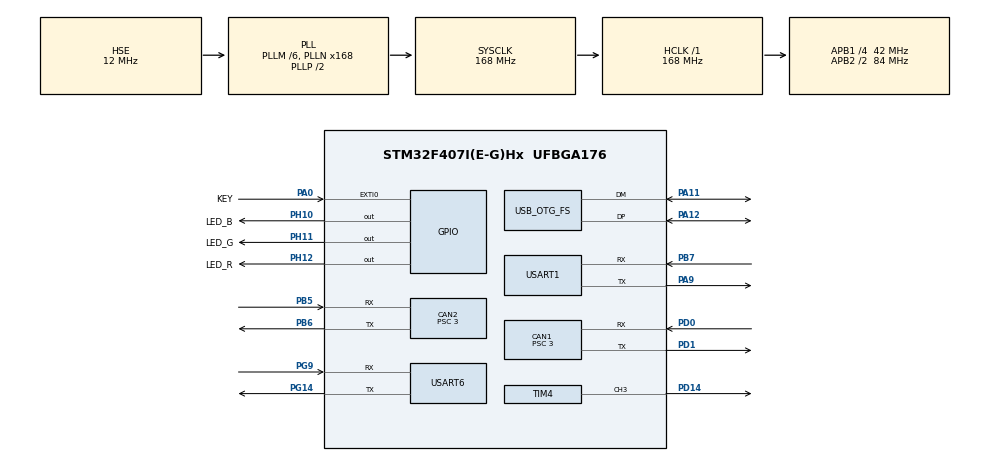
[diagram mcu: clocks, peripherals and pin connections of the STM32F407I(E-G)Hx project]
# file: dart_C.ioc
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CAN1.BS1=CAN_BS1_10TQ
CAN1.BS2=CAN_BS2_3TQ
CAN1.CalculateBaudRate=1000000
CAN1.CalculateTimeBit=1000
CAN1.CalculateTimeQuantum=71.42857142857143
CAN1.Prescaler=3
CAN2.BS1=CAN_BS1_10TQ
CAN2.BS2=CAN_BS2_3TQ
CAN2.CalculateBaudRate=1000000
CAN2.CalculateTimeBit=1000
CAN2.CalculateTimeQuantum=71.42857142857143
CAN2.Prescaler=3
FREERTOS.Tasks01=defaultTask,0,128,StartDefaultTask,Default,NULL,Dynamic,NULL,NULL;MyTask1,-2,128,MotorUpdate,As external,NULL,Dynamic,NULL,NULL;myTask2,-3,128,StartTask2,As external,NULL,Dynamic,NULL,NULL;PidTask,-3,128,StartPidTask,As external,NULL,Dynamic,NULL,NULL;CdcTask,-3,128,StartCdcTask,As external,NULL,Dynamic,NULL,NULL
Mcu.Family=STM32F4
Mcu.Name=STM32F407I(E-G)Hx
Mcu.Package=UFBGA176
NVIC.CAN1_RX0_IRQn=true\:5\:0\:false\:false\:true\:true\:true\:true\:true
NVIC.CAN1_RX1_IRQn=true\:5\:0\:false\:false\:true\:true\:true\:true\:true
NVIC.CAN2_RX0_IRQn=true\:5\:0\:false\:false\:true\:true\:true\:true\:true
NVIC.CAN2_RX1_IRQn=true\:5\:0\:false\:false\:true\:true\:true\:true\:true
NVIC.EXTI0_IRQn=true\:5\:0\:false\:false\:true\:false\:true\:true\:true
NVIC.OTG_FS_IRQn=true\:5\:0\:false\:false\:true\:true\:false\:true\:true
NVIC.PriorityGroup=NVIC_PRIORITYGROUP_4
NVIC.TIM1_UP_TIM10_IRQn=true\:0\:0\:true\:false\:true\:false\:false\:true\:true
NVIC.TIM2_IRQn=true\:5\:0\:false\:false\:true\:true\:true\:true\:true
NVIC.TimeBase=TIM1_UP_TIM10_IRQn
NVIC.TimeBaseIP=TIM1
NVIC.USART1_IRQn=true\:5\:0\:false\:false\:true\:true\:true\:true\:true
NVIC.USART6_IRQn=true\:5\:0\:false\:false\:true\:true\:true\:true\:true
PA0-WKUP.GPIO_Label=KEY
PA0-WKUP.GPIO_ModeDefaultEXTI=GPIO_MODE_IT_FALLING
PA0-WKUP.Signal=GPXTI0
PA11.Mode=Device_Only
PA11.Signal=USB_OTG_FS_DM
PA12.Mode=Device_Only
PA12.Signal=USB_OTG_FS_DP
PA13.Mode=Serial_Wire
PA13.Signal=SYS_JTMS-SWDIO
PA14.Mode=Serial_Wire
PA14.Signal=SYS_JTCK-SWCLK
PA9.Mode=Asynchronous
PA9.Signal=USART1_TX
PB5.Mode=CAN_Activate
PB5.Signal=CAN2_RX
PB6.Mode=CAN_Activate
PB6.Signal=CAN2_TX
PB7.Mode=Asynchronous
PB7.Signal=USART1_RX
PD0.Mode=CAN_Activate
PD0.Signal=CAN1_RX
PD1.Mode=CAN_Activate
PD1.Signal=CAN1_TX
PD14.Signal=S_TIM4_CH3
PG14.Mode=Asynchronous
PG14.Signal=USART6_TX
PG9.Mode=Asynchronous
PG9.Signal=USART6_RX
PH0-OSC_IN.Mode=HSE-External-Oscillator
PH0-OSC_IN.Signal=RCC_OSC_IN
PH1-OSC_OUT.Mode=HSE-External-Oscillator
PH1-OSC_OUT.Signal=RCC_OSC_OUT
PH10.GPIO_Label=LED_B
PH10.Signal=GPIO_Output
PH11.GPIO_Label=LED_G
PH11.Signal=GPIO_Output
PH12.GPIO_Label=LED_R
PH12.Signal=GPIO_Output
ProjectManager.HeapSize=0x200
ProjectManager.StackSize=0x400
ProjectManager.TargetToolchain=MDK-ARM V5.32
RCC.48MHZClocksFreq_Value=48000000
RCC.AHBFreq_Value=168000000
RCC.APB1CLKDivider=RCC_HCLK_DIV4
RCC.APB1Freq_Value=42000000
RCC.APB1TimFreq_Value=84000000
RCC.APB2CLKDivider=RCC_HCLK_DIV2
RCC.APB2Freq_Value=84000000
RCC.APB2TimFreq_Value=168000000
RCC.CortexFreq_Value=168000000
RCC.HCLKFreq_Value=168000000
RCC.HSE_VALUE=12000000
RCC.HSI_VALUE=16000000
RCC.LSE_VALUE=32768
RCC.PLLM=6
RCC.PLLN=168
RCC.PLLQ=7
RCC.SYSCLKFreq_VALUE=168000000
RCC.SYSCLKSource=RCC_SYSCLKSOURCE_PLLCLK
RCC.VCOOutputFreq_Value=336000000
SH.S_TIM4_CH3.0=TIM4_CH3,PWM Generation3 CH3
TIM2.AutoReloadPreload=TIM_AUTORELOAD_PRELOAD_ENABLE
TIM2.Period=999
TIM2.Prescaler=83
TIM3.AutoReloadPreload=TIM_AUTORELOAD_PRELOAD_ENABLE
TIM3.Period=999
TIM3.Prescaler=83
TIM4.AutoReloadPreload=TIM_AUTORELOAD_PRELOAD_ENABLE
TIM4.Channel-PWM\ Generation3\ CH3=TIM_CHANNEL_3
TIM4.Period=999
TIM4.Prescaler=83
USART1.VirtualMode=VM_ASYNC
USART6.VirtualMode=VM_ASYNC
USB_DEVICE.CLASS_NAME_FS=CDC
USB_DEVICE.VirtualMode-CDC_FS=Cdc
USB_DEVICE.VirtualModeFS=Cdc_FS
USB_OTG_FS.VirtualMode=Device_Only
VP_FREERTOS_VS_CMSIS_V1.Mode=CMSIS_V1
VP_SYS_VS_tim1.Mode=TIM1
VP_TIM2_VS_ClockSourceINT.Mode=Internal
VP_TIM3_VS_OPM.Mode=OPM_bit
VP_TIM4_VS_ClockSourceINT.Mode=Internal
VP_USB_DEVICE_VS_USB_DEVICE_CDC_FS.Mode=CDC_FS
board=custom

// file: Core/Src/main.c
/* USER CODE BEGIN Header */
/**
  ******************************************************************************
  * @file           : main.c
  * @brief          : Main program body
  ******************************************************************************
  * @attention
  *
  * Copyright (c) 2026 STMicroelectronics.
  * All rights reserved.
  *
  * This software is licensed under terms that can be found in the LICENSE file
  * in the root directory of this software component.
  * If no LICENSE file comes with this software, it is provided AS-IS.
  *
  ******************************************************************************
  */
/* USER CODE END Header */
#include "main.h"
#include "cmsis_os.h"
#include "can.h"
#include "tim.h"
#include "usart.h"
#include "usb_device.h"
#include "gpio.h"

/* USER CODE BEGIN Includes */
#include "math.h"
#include "stdlib.h"
#include "string.h"
#include "usbd_cdc_if.h"
#include "Filter.h"
#include "referee.h"
/* USER CODE END Includes */

/* USER CODE BEGIN PTD */
typedef struct{//PID结构体
  double Kp;
  double Ki;
  double Kd;
  double error;
  double error_last;
  double integral;
  double output;
  double maxOutput;
  double deadband;//误差死区，当近似达到目标就不再计算输出，防止持续微调
  double intergralLimit;
  double setpoint;
  double *outputAdress;
  double *inputAdress;
}Pid;//

typedef struct{
  uint8_t data[8];
  uint32_t StdId;
}MotorSend;//对应标志位的要发送的数据结构体

enum MotorMode{disable,currentMode,angleMode,speedMode,torqueMode,runToAngle,runToStallMode,speedTimeMode};

typedef struct{
  uint16_t singleAngle;
  double rpmRaw;
  double torqueRaw;
  double rpm;
  double torque;
  int8_t tempr;
  double angle;
  filter_t rpmFilter;//转速滤波器
  filter_t torqueFilter;//转矩滤波器
  enum MotorMode motorMode;
  uint8_t isStalled; // 是否堵转
  uint32_t stallTimer; // 堵转计时
  uint32_t lastRxTick; // 最近一次收到CAN反馈的时间戳
  uint8_t isOnline; // CAN反馈在线状态
  uint32_t onlineSinceTick; // 最近一次上线时间戳，用于上电后保护判定延时
}MotorState;//存储电机状态的结构体

typedef struct{
  double output;
  uint32_t StdId;
  uint8_t motor_byte;//电机标志位
  uint8_t enabled; //使能
  int8_t maxTemp; // 温度阈值
  double maxTorque; // 转矩阈值
  double stallOutput; // 堵转输出阈值 (Output)
  double stallSpeedThreshold; // 堵转速度阈值 (RPM)
  uint32_t stallTimeThreshold; // 堵转时间阈值(ms)
  double targetAngle; // For runToAngle
  double runSpeed;    // For runToAngle
  uint32_t runTime;   // For speedTimeMode
  uint32_t runTimer;  // For speedTimeMode
  MotorState motorState;
  Pid anglePid,speedPid,torquePid;
}Motor;//对应每个电机的结构体

typedef struct{
  double yaw;
  double v1Speed;
  double v2Speed;
}dartParam;//每发飞镖的发射参数结构体

/* USER CODE END PTD */

/* USER CODE BEGIN PD */
  #define MOTOR_SEND_NUM 3
  #define MOTOR_NUM 7
  #define RPM_KF_Q 0.7f//卡尔曼过程噪声，越大模型越不可信任，越依赖测量值
  #define RPM_KF_R 10.0f//卡尔曼测量噪声，越大测量值越不可信任，越依赖模型预测值
  #define TORQUE_FILTER_ALPHA 0.30f//转矩滤波器系数，调整转矩滤波，0到1之间，0表示不滤波，1表示完全滤波
  #define BUZZER_ALERT_FREQ_HZ 1450U // 日常报警蜂鸣器频率，避免与电调告警音相近
  #define MOTOR_OFFLINE_TIMEOUT_MS 100U // 超过该时间未收到反馈则判定离线
  #define MOTOR_ONLINE_WARMUP_MS 800U // 电机重新上电后的保护判定预热时间
/* USER CODE END PD */

/* USER CODE BEGIN PM */
void PidInit(Pid *pid,double Kp,double Ki,double Kd,double maxOutput,double deadband,double intergralLimit);//初始化PID
void MotorInit(Motor *motor,uint32_t StdId,uint8_t motor_byte);
//,uint8_t maxTemp,double maxTorque, double stallOutput, double stallSpeedThreshold, uint32_t stallTimeThreshold)
//初始化电机结构体
void MotorSafetyInit(Motor *motor, uint8_t maxTemp, double maxTorque, double stallOutput, double stallSpeedThreshold, uint32_t stallTimeThreshold);
void MotorFilterUpdate(Motor *motor);//在任务上下文中更新电机滤波结果
//初始化电机安全保护参数
void MotorRunToStall(Motor *motor, double speed);//以指定速度运行电机直到堵转
void MotorSetOutput(Motor *motor, enum MotorMode mode, double value);//设置输出
void MotorRunToAngleBlocking(Motor *motor, double angle, double speed);//以指定角度运行电机
void MotorRunSpeedTime(Motor *motor, double speed, uint32_t time);//以指定速度运行指定时间
void MotorRunSpeedTimeBlocking(Motor *motor, double speed, uint32_t time);//以指定速度运行指定时间(阻塞)
void CAN_SendMessage(uint8_t *data, uint32_t StdId);//发送CAN消息
void TransferToMotorSend(Motor *motor);//根据电机的StdId来决定发送到哪个MotorSend结构体中
void CanSendMotor(MotorSend *motorsend);//发送对应的MotorSend结构体
void MotorCdcFeedback(uint8_t motor_SN);//发送motor_array对应序号电机的反馈信息到CDC
void RefereeCdcFeedback(void);//发送裁判系统缓存数据到CDC

void Singing();//整活
void SingingSome();//唱一小段
/* USER CODE END PM */

/* USER CODE BEGIN PV */
  referee_t g_referee;//裁判系统对象
  ext_dart_info_t g_dart_info_cache;//缓存的飞镖信息
  ext_dart_client_cmd_t g_dart_cmd_cache;//飞镖操作系统命令缓存

    int alarm_level = 0; // 0:None, 1:Temp, 2:Torque, 3:EXTI//用于报警
    short int alarm_motor = -1; // 报警电机编号
    uint16_t alarm_counter = 0; // 报警计数器
    uint8_t CDC_Ctrl_state = 0; // CDC使能标志
    uint8_t RunningTask = 0;// 运行任务标志
    uint8_t MotorUpdateFlag = 1; // 电机更新标志

    dartParam dartParam_array[4];//飞镖参数数组

    MotorSend _1FE={{0x00},0x1FE},
    _1FF={{0x00},0x1FF},
    _200={{0x00},0x200};
    MotorSend *motor_send_array[MOTOR_SEND_NUM]={&_1FE,&_1FF,&_200};

    Motor
    GM6020={0,0x1FE,0},
    fric1={0,0x200,0},
    fric2={0,0x200,2},
    fric3={0,0x200,4},
    fric4={0,0x200,6},
    lift={0,0x1FF,4},
    load={0,0x1FF,2};
    //对应所有电机的结构体指针数组,记得按照反馈ID顺序排列，第一个反馈标志位是0x201
    Motor *motor_array[MOTOR_NUM]={&fric1,&fric2,&fric3,&fric4,&GM6020,&load,&lift};

    //uint8_t high=0x00,low=0x00;//发送高低字节
    //int16_t current_value = 0;//发送值
    //int A=0;//振幅
    //uint32_t ReID=0x205;
    //uint8_t ReData[8];
    //int Arr =999;
    //以上是历史残留代码
    CAN_TxHeaderTypeDef TxHeader;
    int CanSendCounter=0;

/* USER CODE END PV */

void SystemClock_Config(void);
void MX_FREERTOS_Init(void);
/* USER CODE BEGIN PFP */
void PidCalculate(Pid *pid);

/* USER CODE END PFP */

int main(void)
{

  /* MCU Configuration--------------------------------------------------------*/

  /* Reset of all peripherals, Initializes the Flash interface and the Systick. */
  HAL_Init();

  /* Configure the system clock */
  SystemClock_Config();

  /* Initialize all configured peripherals */
  MX_GPIO_Init();
  MX_CAN2_Init();
  MX_TIM2_Init();
  MX_CAN1_Init();
  MX_TIM4_Init();
  MX_TIM3_Init();
  MX_USART1_UART_Init();
  MX_USART6_UART_Init();
  /* USER CODE BEGIN 2 */
  // 调整 CAN 接收优先级高于 TIM2 发送
/*   HAL_NVIC_SetPriority(CAN2_RX0_IRQn, 0, 0);
  HAL_NVIC_EnableIRQ(CAN2_RX0_IRQn);

  HAL_NVIC_SetPriority(TIM2_IRQn, 1, 0);
  HAL_NVIC_EnableIRQ(TIM2_IRQn); */

  // 必须添加这句来启动 CAN2
  if (HAL_CAN_Start(&hcan2) != HAL_OK)
  {
     // 启动失败处理
     Error_Handler();
  }
    // CAN1 当前未挂载设备，不启动
  HAL_TIM_Base_Start_IT(&htim2);

  htim2.Instance->ARR = 999;//设置自动重装载值，决定发送频率，999对应100Hz
  // 配置 CAN 接收过滤器(不过滤，接收所有)
  CAN_FilterTypeDef sFilterConfig;
  sFilterConfig.FilterBank = 14; // CAN2 的过滤器组起始通常为 14
  sFilterConfig.FilterMode = CAN_FILTERMODE_IDMASK;
  sFilterConfig.FilterScale = CAN_FILTERSCALE_32BIT;
  sFilterConfig.FilterIdHigh = 0x0000;
  sFilterConfig.FilterIdLow = 0x0000;
  sFilterConfig.FilterMaskIdHigh = 0x0000;
  sFilterConfig.FilterMaskIdLow = 0x0000;
  sFilterConfig.FilterFIFOAssignment = CAN_RX_FIFO0;
  sFilterConfig.FilterActivation = ENABLE;
  sFilterConfig.SlaveStartFilterBank = 14;

  if (HAL_CAN_ConfigFilter(&hcan2, &sFilterConfig) != HAL_OK)
  {
    Error_Handler();
  }

  // 开启接收中断
  if (HAL_CAN_ActivateNotification(&hcan2, CAN_IT_RX_FIFO0_MSG_PENDING) != HAL_OK)
  {
    Error_Handler();
  }

  HAL_Delay(3000);
  HAL_GPIO_WritePin(LED_B_GPIO_Port, LED_B_Pin, GPIO_PIN_SET);

  if (Referee_Init(&g_referee, NULL) != Referee_Ok)//初始化裁判机
  {
    Error_Handler();
  }
  if (Referee_StartUartReceive(&g_referee) != Referee_Ok)//启动UART1异步接收
  {
    Error_Handler();
  }

  /* USER CODE END 2 */

  /* Call init function for freertos objects (in cmsis_os2.c) */
  MX_FREERTOS_Init();

  /* Start scheduler */
  osKernelStart();

  /* We should never get here as control is now taken by the scheduler */

  /* Infinite loop */
  /* USER CODE BEGIN WHILE */
  while (1)
  {
    //HAL_Delay(1);
    //HAL_GPIO_TogglePin(LED_R_GPIO_Port, LED_R_Pin);
    //HAL_Delay(10);

    /* USER CODE END WHILE */

  }
}

void SystemClock_Config(void)
{
  RCC_OscInitTypeDef RCC_OscInitStruct = {0};
  RCC_ClkInitTypeDef RCC_ClkInitStruct = {0};

  /** Configure the main internal regulator output voltage
  */
  __HAL_RCC_PWR_CLK_ENABLE();
  __HAL_PWR_VOLTAGESCALING_CONFIG(PWR_REGULATOR_VOLTAGE_SCALE1);

  /** Initializes the RCC Oscillators according to the specified parameters
  * in the RCC_OscInitTypeDef structure.
  */
  RCC_OscInitStruct.OscillatorType = RCC_OSCILLATORTYPE_HSE;
  RCC_OscInitStruct.HSEState = RCC_HSE_ON;
  RCC_OscInitStruct.PLL.PLLState = RCC_PLL_ON;
  RCC_OscInitStruct.PLL.PLLSource = RCC_PLLSOURCE_HSE;
  RCC_OscInitStruct.PLL.PLLM = 6;
  RCC_OscInitStruct.PLL.PLLN = 168;
  RCC_OscInitStruct.PLL.PLLP = RCC_PLLP_DIV2;
  RCC_OscInitStruct.PLL.PLLQ = 7;
  if (HAL_RCC_OscConfig(&RCC_OscInitStruct) != HAL_OK)
  {
    Error_Handler();
  }

  /** Initializes the CPU, AHB and APB buses clocks
  */
  RCC_ClkInitStruct.ClockType = RCC_CLOCKTYPE_HCLK|RCC_CLOCKTYPE_SYSCLK
                              |RCC_CLOCKTYPE_PCLK1|RCC_CLOCKTYPE_PCLK2;
  RCC_ClkInitStruct.SYSCLKSource = RCC_SYSCLKSOURCE_PLLCLK;
  RCC_ClkInitStruct.AHBCLKDivider = RCC_SYSCLK_DIV1;
  RCC_ClkInitStruct.APB1CLKDivider = RCC_HCLK_DIV4;
  RCC_ClkInitStruct.APB2CLKDivider = RCC_HCLK_DIV2;

  if (HAL_RCC_ClockConfig(&RCC_ClkInitStruct, FLASH_LATENCY_5) != HAL_OK)
  {
    Error_Handler();
  }
}

/* USER CODE BEGIN 4 */

//CAN发送函数
void CAN_SendMessage(uint8_t *data, uint32_t StdId) {
  //CAN_TxHeaderTypeDef TxHeader;
  uint32_t TxMailbox;

  // 配置发送消息头
  TxHeader.StdId = StdId;
  TxHeader.ExtId = 0;
  TxHeader.IDE = CAN_ID_STD;
  TxHeader.RTR = CAN_RTR_DATA;
  TxHeader.DLC = 8;//数据长度，8字节
  TxHeader.TransmitGlobalTime = DISABLE;//不发送全局时间戳

  if (HAL_CAN_AddTxMessage(&hcan2, &TxHeader, data, &TxMailbox) != HAL_OK) {//发送函数
    //Error_Handler();
  }
}

//发送对应的MotorSend结构体
void CanSendMotor(MotorSend *motorsend){
CAN_SendMessage(motorsend->data,motorsend->StdId);
}

void RecReceiveMotor(Motor *motor,uint8_t *data){//接收对应的电机数据
  int16_t rpm_raw = (int16_t)((data[2]<<8)|data[3]);
  int16_t torque_raw = (int16_t)((data[4]<<8)|data[5]);

  motor->motorState.rpmRaw = (double)rpm_raw;
  motor->motorState.torqueRaw = (double)torque_raw;

  motor->motorState.tempr=(int8_t)data[6];
  if (motor->motorState.isOnline == 0U) {
    motor->motorState.onlineSinceTick = HAL_GetTick();
  }
  motor->motorState.lastRxTick = HAL_GetTick();
  motor->motorState.isOnline = 1;
  int deltaAngle = (int)(((uint16_t)data[0]<<8)|data[1])-(int)motor->motorState.singleAngle;//角度增量
  motor->motorState.singleAngle = ((uint16_t)data[0]<<8)|data[1];//记录当前角度
  if(abs(deltaAngle) < 4096) motor->motorState.angle += deltaAngle;
}

// 在任务上下文中做滤波，避免在中断里执行浮点运算
void MotorFilterUpdate(Motor *motor)//将滤波值更新到电机中
{
  uint8_t use_filter;

  if (motor == NULL) {
    return;
  }

  use_filter = (motor == &fric1) || (motor == &fric2) || (motor == &fric3) || (motor == &fric4) || (motor == &lift);
  if (!use_filter) {
    motor->motorState.rpm = motor->motorState.rpmRaw;
    motor->motorState.torque = motor->motorState.torqueRaw;
    return;
  }

  if (motor->motorState.rpmFilter.magic != FILTER_MAGIC) {
    Filter_Init(&motor->motorState.rpmFilter, Fiter_Type_KF, RPM_KF_Q, RPM_KF_R); // rpm用卡尔曼滤波
  }
  if (motor->motorState.torqueFilter.magic != FILTER_MAGIC) {
    Filter_Init(&motor->motorState.torqueFilter, Fiter_Type_LPF, TORQUE_FILTER_ALPHA, 100.0f); // 100Hz采样率
  }

  Filter_update(&motor->motorState.rpmFilter, (float)motor->motorState.rpmRaw);
  Filter_update(&motor->motorState.torqueFilter, (float)motor->motorState.torqueRaw);

  motor->motorState.rpm = (double)Filter_get_output(&motor->motorState.rpmFilter);
  motor->motorState.torque = (double)Filter_get_output(&motor->motorState.torqueFilter);
}

//根据电机的StdId来决定发送到哪个MotorSend结构体中
void TransferToMotorSend(Motor *motor){
  int16_t out_int = (int16_t)motor->output;
  if(motor->StdId==0x1FE){
    _1FE.data[motor->motor_byte]=(uint8_t)(out_int>>8);
    _1FE.data[motor->motor_byte+1]=(uint8_t)(out_int);
  }else if(motor->StdId==0x1FF){
    _1FF.data[motor->motor_byte]=(uint8_t)(out_int>>8);
    _1FF.data[motor->motor_byte+1]=(uint8_t)(out_int);
  }else if(motor->StdId==0x200){
    _200.data[motor->motor_byte]=(uint8_t)(out_int>>8);
    _200.data[motor->motor_byte+1]=(uint8_t)(out_int);
  }
}

// CAN 接收中断回调函数
void HAL_CAN_RxFifo0MsgPendingCallback(CAN_HandleTypeDef *hcan)//HAL库接收中断回调
{
  CAN_RxHeaderTypeDef RxHeader;
  uint8_t RxData[8];

  if (hcan->Instance == CAN2)
  {
    if (HAL_CAN_GetRxMessage(hcan, CAN_RX_FIFO0, &RxHeader, RxData) == HAL_OK)
    {
      // 仅处理电机反馈ID(0x201~0x207)，避免数组越界导致HardFault
      if (RxHeader.IDE == CAN_ID_STD && RxHeader.StdId >= 0x201 && RxHeader.StdId <= 0x207)
      {
        uint32_t idx = RxHeader.StdId - 0x201;
        if (idx < MOTOR_NUM)
        {
          RecReceiveMotor(motor_array[idx], RxData);
        }
      }
    }
  }
}

void PidCalculate(Pid *pid){
  if (pid->inputAdress == NULL) return;
  double measure = *pid->inputAdress;
  pid->error = pid->setpoint - measure;
  if(fabs(pid->error)>pid->deadband)pid->integral += pid->error;

  if (pid->Ki != 0) {
    if(pid->integral*pid->Ki > pid->intergralLimit) pid->integral = pid->intergralLimit/pid->Ki;
    else if(pid->integral*pid->Ki < -pid->intergralLimit) pid->integral = -pid->intergralLimit/pid->Ki;
  }

  if(fabs(pid->error)>pid->deadband)pid->output = pid->Kp * pid->error + pid->Ki * pid->integral + pid->Kd * (pid->error - pid->error_last);
  pid->error_last = pid->error;

  if(pid->output > pid->maxOutput) pid->output = pid->maxOutput;
  if(pid->output < -pid->maxOutput) pid->output = -pid->maxOutput;

  if (pid->outputAdress != NULL) *pid->outputAdress = pid->output;
}

void MotorInit(Motor *motor,uint32_t StdId,uint8_t motor_byte)
  //,uint8_t maxTemp,double maxTorque, double stallOutput, double stallSpeedThreshold, uint32_t stallTimeThreshold)
{//初始化电机结构体
  motor->StdId=StdId;
  motor->motor_byte=motor_byte;
  motor->motorState.motorMode=disable;
  motor->motorState.singleAngle=0;
  motor->motorState.rpmRaw=0;
  motor->motorState.torqueRaw=0;
  motor->motorState.angle=0;
  motor->motorState.rpm=0;
  motor->motorState.torque=0;
  motor->motorState.tempr=0;
  motor->enabled = 1;
  motor->maxTemp = 35;
  motor->maxTorque = 5000;
  motor->stallOutput = 1000;
  motor->stallSpeedThreshold = 50;
  motor->stallTimeThreshold = 500;
  motor->motorState.isStalled = 0;
  motor->motorState.stallTimer = 0;
  motor->motorState.lastRxTick = HAL_GetTick();
  motor->motorState.isOnline = 0;
  motor->motorState.onlineSinceTick = 0;
  motor->targetAngle = 0;
  motor->runSpeed = 0;
  motor->runTime = 0;
  motor->runTimer = 0;

  // 初始化PID指针为空，防止未配置模式时误计算
  motor->anglePid.inputAdress = NULL;
  motor->anglePid.outputAdress = NULL;
  motor->speedPid.inputAdress = NULL;
  motor->speedPid.outputAdress = NULL;
  motor->torquePid.inputAdress = NULL;
  motor->torquePid.outputAdress = NULL;

  // 初始化滤波器
  (void)Filter_Init(&motor->motorState.rpmFilter, Fiter_Type_KF, RPM_KF_Q, RPM_KF_R);//rpm采用卡尔曼滤波
  (void)Filter_Init(&motor->motorState.torqueFilter, Fiter_Type_LPF, TORQUE_FILTER_ALPHA, 100.0f);
}
void MotorSafetyInit(Motor *motor, uint8_t maxTemp, double maxTorque, double stallOutput, double stallSpeedThreshold, uint32_t stallTimeThreshold){
  motor->maxTemp = maxTemp;
  motor->maxTorque = maxTorque;
  motor->stallOutput = stallOutput;
  motor->stallSpeedThreshold = stallSpeedThreshold;
  motor->stallTimeThreshold = stallTimeThreshold;
}

//初始化PID
void PidInit(Pid *pid,double Kp,double Ki,double Kd,double maxOutput,double deadband,double intergralLimit){
  pid->Kp=Kp;
  pid->Ki=Ki;
  pid->Kd=Kd;
  pid->maxOutput=maxOutput;
  pid->deadband=deadband;
  pid->intergralLimit=intergralLimit;
}

void dartParamInit(){
  for(int i=0;i<4;i++){
    dartParam_array[i].yaw = 245000;
    dartParam_array[i].v1Speed = 0;
    dartParam_array[i].v2Speed = 0;
  }
}

//设置输出
void MotorSetOutput(Motor *motor, enum MotorMode mode, double value){
  motor->motorState.motorMode = mode;
  switch (mode)
  {
  case disable:
    motor->output = 0;
    break;
  case currentMode:
    motor->output = value;
    break;
  case angleMode:
    motor->anglePid.setpoint = value;
    motor->anglePid.inputAdress = &motor->motorState.angle;
    motor->anglePid.outputAdress = &motor->output;
    break;
  case speedMode:
  case speedTimeMode:
    motor->speedPid.setpoint = value;
    motor->speedPid.inputAdress = &motor->motorState.rpm;
    motor->speedPid.outputAdress = &motor->output;
    break;
  case torqueMode:
    motor->torquePid.setpoint = value;
    motor->torquePid.inputAdress = &motor->motorState.torque;
    motor->torquePid.outputAdress = &motor->output;
    break;
  case runToStallMode: // Non-blocking run to stall
    // Setup speed PID but user must ensure target is set via structure or external logic
     motor->speedPid.inputAdress = &motor->motorState.rpm;
     motor->speedPid.outputAdress = &motor->output;
     motor->motorState.isStalled = 0; // Clear stall flag
    break;
  default:
    break;
  }
}

//以指定速度运行电机直到堵转
void MotorRunToStall(Motor *motor, double speed){
  //enum MotorMode lastMode = motor->motorState.motorMode;
  motor->motorState.motorMode = speedMode;
  motor->speedPid.setpoint = speed;
  motor->speedPid.inputAdress = &motor->motorState.rpm;
  motor->speedPid.outputAdress = &motor->output;
  while(motor->motorState.isStalled==0){
    osDelay(1);
  }
  motor->motorState.isStalled=0;
  motor->motorState.motorMode=disable;
  motor->motorState.stallTimer=0;
  motor->speedPid.setpoint = 0;
  //MotorSetOutput(motor,angleMode, motor->motorState.angle);
  motor->output = 0;
}

//使电机到指定角度
void MotorRunToAngleBlocking(Motor *motor, double angle, double speed){
  if(motor->motorState.angle < angle){
    motor->motorState.motorMode = speedMode;
    motor->speedPid.setpoint = fabs(speed);
    motor->speedPid.inputAdress = &motor->motorState.rpm;
    motor->speedPid.outputAdress = &motor->output;
    while(motor->motorState.angle < angle){
      if(motor->motorState.isStalled) break; // 堵转检测
      osDelay(1);
    }
  }else{
    motor->motorState.motorMode = speedMode;
    motor->speedPid.setpoint = -fabs(speed);
    motor->speedPid.inputAdress = &motor->motorState.rpm;
    motor->speedPid.outputAdress = &motor->output;
    while(motor->motorState.angle > angle){
      if(motor->motorState.isStalled) break; // 堵转检测
      osDelay(1);
    }
  }
  motor->speedPid.setpoint = 0;
  motor->motorState.isStalled = 0; // Clear flag
  MotorSetOutput(motor, angleMode, angle);
}

//以指定速度运行指定时间
void MotorRunSpeedTime(Motor *motor, double speed, uint32_t time){
  motor->runSpeed = speed;
  motor->runTime = time;
  motor->runTimer = 0; // Reset timer
  MotorSetOutput(motor, speedTimeMode, 0);
}

//以指定速度运行指定时间(阻塞)
void MotorRunSpeedTimeBlocking(Motor *motor, double speed, uint32_t time){
  MotorRunSpeedTime(motor, speed, time);
  while(motor->runTimer < motor->runTime){
    osDelay(1);
  }
};

void HAL_GPIO_EXTI_Callback(uint16_t GPIO_Pin)
{
  if(GPIO_Pin == KEY_Pin){
    alarm_level = 3; // 设置最高优先级报警（按键触发）
    for(int i=0;i<MOTOR_NUM;i++){
      motor_array[i]->enabled=0;//将电机全部急停
    }
  }
}

void HAL_UART_RxCpltCallback(UART_HandleTypeDef *huart)
{
  if (huart == NULL) {
    return;
  }

  if (huart == g_referee.cfg.huart) {
    (void)Referee_OnUartRxCplt(&g_referee, HAL_GetTick());
  }
}

void HAL_UART_ErrorCallback(UART_HandleTypeDef *huart)
{
  if (huart == NULL) {
    return;
  }

  if (huart == g_referee.cfg.huart) {
    (void)Referee_StartUartReceive(&g_referee);
  }
}

//发送motor_array对应序号电机的反馈信息到CDC
void MotorCdcFeedback(uint8_t motor_SN){
  Motor *motor = motor_array[motor_SN];
  uint8_t feedback[100];
  feedback[0]=0x81;//由于约定CDC主机发送命令第一字节标志位从0x00开始，所以反馈从0x80开始(1000 0000 B)
  feedback[1]=motor_SN; // 电机序号
  feedback[2]=motor->motorState.singleAngle>>8;
  feedback[3]=motor->motorState.singleAngle&0xFF;
  feedback[4]=(int16_t)motor->motorState.rpm>>8;
  feedback[5]=(int16_t)motor->motorState.rpm&0xFF;
  feedback[6]=(int16_t)motor->motorState.torque>>8;
  feedback[7]=(int16_t)motor->motorState.torque&0xFF;
  feedback[8]=motor->motorState.tempr;
  feedback[9]=(uint8_t)((motor->enabled << 7) | (motor->motorState.isStalled << 6) | (motor->motorState.motorMode & 0x3F));
  feedback[10]=(int32_t)motor->motorState.angle>>24;
  feedback[11]=(int32_t)motor->motorState.angle>>16;
  feedback[12]=(int32_t)motor->motorState.angle>>8;
  feedback[13]=(int32_t)motor->motorState.angle&0xFF;
  CDC_Transmit_FS(feedback,14);//发送反馈数据包到上位机，长度14字节
}

void RefereeCdcFeedback(void){
  static uint8_t seq = 0;
  uint8_t feedback[21];
  referee_status_t status = Referee_GetStatus(&g_referee);
  uint8_t has_flags = 0;

  if (g_referee.dart.has_dart_info != 0U) {
    has_flags |= 0x01U;
  }
  if (g_referee.dart.has_dart_client_cmd != 0U) {
    has_flags |= 0x02U;
  }

  feedback[0] = 0x82;
  feedback[1] = (uint8_t)status;
  feedback[2] = g_dart_info_cache.dart_remaining_time;
  feedback[3] = (uint8_t)(g_dart_info_cache.dart_info >> 8);
  feedback[4] = (uint8_t)(g_dart_info_cache.dart_info & 0xFF);
  feedback[5] = g_dart_cmd_cache.dart_launch_opening_status;
  feedback[6] = g_dart_cmd_cache.reserved;
  feedback[7] = (uint8_t)(g_dart_cmd_cache.target_change_time >> 8);
  feedback[8] = (uint8_t)(g_dart_cmd_cache.target_change_time & 0xFF);
  feedback[9] = (uint8_t)(g_dart_cmd_cache.latest_launch_cmd_time >> 8);
  feedback[10] = (uint8_t)(g_dart_cmd_cache.latest_launch_cmd_time & 0xFF);
  feedback[11] = seq++;
  feedback[12] = has_flags;
  feedback[13] = (uint8_t)(g_referee.runtime.parse_ok_count >> 24);
  feedback[14] = (uint8_t)(g_referee.runtime.parse_ok_count >> 16);
  feedback[15] = (uint8_t)(g_referee.runtime.parse_ok_count >> 8);
  feedback[16] = (uint8_t)(g_referee.runtime.parse_ok_count & 0xFF);
  feedback[17] = (uint8_t)(g_referee.runtime.parse_err_count >> 24);
  feedback[18] = (uint8_t)(g_referee.runtime.parse_err_count >> 16);
  feedback[19] = (uint8_t)(g_referee.runtime.parse_err_count >> 8);
  feedback[20] = (uint8_t)(g_referee.runtime.parse_err_count & 0xFF);

  CDC_Transmit_FS(feedback, 21);
}

void CDC_Receive_Callback(uint8_t *Buf, uint32_t Len)
{
    // 解析自定义数据包
    // Byte 0: 0x00 (Header)
    // Byte 1: Motor ID (0-6)
    // Byte 2: Mode
/*
    //////////////////////////////////////////////////
    CDC数据包解释
    指令数据包（发送给stm32）
    Byte 0: 0x00
      Byte 1: Motor ID (0-6)
      Byte 2: Mode (0-7)
        0: Disable
        1: Current Mode
          Byte 3-4: Value (int16, Big Endian)
        2: Angle Mode
          Byte 3-4: Value (int16, Big Endian)
        3: Speed Mode
          Byte 3-4: Value (int16, Big Endian)
        4: Torque Mode
          Byte 3-4: Value (int16, Big Endian)
        5: RunToStall (Non-blocking)
          Byte 3-4: Speed (int16, Big Endian)
        6: RunToAngle (Non-blocking)
          Byte 3-10: Angle (double, Big Endian from Python)
          Byte 11-12: Speed (int16, Big Endian)
        7: SpeedTimeMode (Non-blocking)
          Byte 3-4: Speed (int16, Big Endian)
          Byte 5-8: Time ms (uint32, Big Endian)
    Byte 0: 0x01 (System Command)
      Byte 1: 0x00 = Emergency Stop -> alarm_level=3, disable all motors
      Byte 1: Other = Set RunningTask
    Byte 0: 0x02 (Value Set)
      Byte 1: 0x00 (dartParam Set)//设置的参数是飞镖发射参数
        Byte 2: Dart ID (0-3)
          Byte 3-4: Dart's yaw value (double, Big Endian)
          Byte 5-6: Dart's v1Speed (double, Big Endian)
          Byte 7-8: Dart's v2Speed (double, Big Endian)
    ///////////////////////////////
    反馈数据包（发送给上位机）
    Byte 0: 0x81 (Header)
      Byte 1: Motor ID (0-6)
      Byte 2-3: Single Angle (uint16, Big Endian)
      Byte 4-5: RPM (int16, Big Endian)
      Byte 6-7: Torque (int16, Big Endian)
      Byte 8: Temp (int8)
      Byte 9: Flags (7: Enabled, 6: Stalled, 5-0: Mode)
      Byte 10-13: Total Angle (int32, Big Endian)
    ///////////////////////////////

    /////////////////////////////////////////////////
*/
    //if(CDC_Ctrl_state != 1) return; // 未连接时不处理
    if (Len >= 5 && Buf[0] == 0x00) {
        uint8_t motor_id = Buf[1];
        uint8_t mode_val = Buf[2];

        if (motor_id < MOTOR_NUM) {
             motor_array[motor_id]->enabled = 1;
             motor_array[motor_id]->motorState.isStalled = 0;
             motor_array[motor_id]->motorState.stallTimer = 0;
             if (mode_val <= 4) {
                 // 立即设置 (非阻塞)
                 // Byte 3-4: Value (int16, Big Endian)
                 int16_t val_int16 = (int16_t)((Buf[3] << 8) | Buf[4]);
                 double val_double = (double)val_int16;

                 MotorSetOutput(motor_array[motor_id], (enum MotorMode)mode_val, val_double);

             } else if (mode_val == 0x05) {
                 // Mode 5: RunToStall (Non-blocking)
                 // Byte 3-4: Speed (int16, Big Endian)
                 int16_t val_int16 = (int16_t)((Buf[3] << 8) | Buf[4]);

                 Motor *motor = motor_array[motor_id];
                 motor->runSpeed = (double)val_int16;
                 MotorSetOutput(motor, runToStallMode, 0);

             } else if (mode_val == 0x06 && Len >= 13) {
                 // Mode 6: RunToAngle (Non-blocking)
                 // Byte 3-10: Angle (double, Big Endian from Python)
                 // Byte 11-12: Speed (int16, Big Endian)

                 uint8_t temp[8];
                 // Reverse bytes for correct double representation if Python sends Big Endian
                 // STM32 is Little Endian
                 for(int i=0; i<8; i++) {
                     temp[i] = Buf[10 - i];
                 }
                 double angle_val;
                 memcpy(&angle_val, temp, 8);

                 int16_t speed_int16 = (int16_t)((Buf[11] << 8) | Buf[12]);

                 Motor *m = motor_array[motor_id];
                 m->targetAngle = angle_val;
                 m->runSpeed = (double)speed_int16;
                 // Manually setup for runToAngle
                 m->speedPid.inputAdress = &m->motorState.rpm;
                 m->speedPid.outputAdress = &m->output;
                 m->motorState.motorMode = runToAngle;
             } else if (mode_val == 0x07 && Len >= 9) {
                 // Mode 7: SpeedTimeMode
                 // Byte 3-4: Speed (int16, Big Endian)
                 // Byte 5-8: Time ms (uint32, Big Endian)

                 int16_t val_int16 = (int16_t)((Buf[3] << 8) | Buf[4]);
                 uint32_t val_time = (uint32_t)((Buf[5] << 24) | (Buf[6] << 16) | (Buf[7] << 8) | Buf[8]);
                 MotorRunSpeedTime(motor_array[motor_id], (double)val_int16, val_time);
             }
        }
    }
    else if (Len >= 2 && Buf[0] == 0x01) {
        // System Command
        // Byte 1: 0x00 = Emergency Stop -> alarm_level=3, disable all motors
      // Byte 1: 0x01~0x7F = Set RunningTask
      // Byte 1: 0xFE = Clear safety latch and re-enable all motors

        if (Buf[1] == 0x00) {
            alarm_level = 3;
            for(int i=0; i<MOTOR_NUM; i++){
                motor_array[i]->enabled = 0;
            }
      } else if (Buf[1] == 0xFE) {
        alarm_level = 0;
        alarm_motor = -1;
        for(int i=0; i<MOTOR_NUM; i++){
          motor_array[i]->enabled = 1;
          motor_array[i]->motorState.isStalled = 0;
          motor_array[i]->motorState.stallTimer = 0;
        }
        } else {
            RunningTask = Buf[1];
        }
    }
    else if (Len >= 15 && Buf[0] == 0x02) {
        // Value Set
        // Byte 1: 0x00 (dartParam Set)
        if (Buf[1] == 0x00) {
            uint8_t dart_id = Buf[2];
            if (dart_id < 4) {
                 // Byte 3-10: Dart's yaw value (double, Big Endian from Python)
                 uint8_t temp[8];
                 for(int i=0; i<8; i++) temp[i] = Buf[10 - i]; // Reverse for Little Endian

                 double yaw_val;
                 memcpy(&yaw_val, temp, 8);

                 // Byte 11-12: Dart's v1Speed
                 int16_t v1_val = (int16_t)((Buf[11] << 8) | Buf[12]);
                 // Byte 13-14: Dart's v2Speed
                 int16_t v2_val = (int16_t)((Buf[13] << 8) | Buf[14]);

                 dartParam_array[dart_id].yaw = yaw_val + 245000.0;//245000 is 0
                 dartParam_array[dart_id].v1Speed = (double)v1_val;
                 dartParam_array[dart_id].v2Speed = (double)v2_val;
            }
        }
    }

    // 将接收到的数据回显（Echo）
    // 注意：CDC_Transmit_FS 如果正在忙碌可能会失败，实际应用可以使用缓冲区或重试机制
    CDC_Transmit_FS(Buf, Len);
}

#define LENGTH 624
const uint8_t Music_Score[LENGTH]={//校歌乐谱数据，用在Singing函数中

	0,0,0,0,0,0,0,0,0,0,0,0,0,0,0,0,0,0,60,60,65,65,69,69,74,74,74,74,74,74,74,74,74,74,74,74,72,72,72,72,72,72,72,72,72,72,70,70,69,69,69,69,69,69,67,67,67,67,69,69,62,62,62,62,62,0,64,64,64,64,62,62,60,60,60,60,60,60,72,72,72,70,70,70,69,69,69,67,67,67,67,67,67,69,69,69,65,65,65,65,65,0,65,65,0,65,65,0,65,65,65,0,0,0,60,60,0,60,60,60,65,65,65,65,65,65,67,67,67,67,67,67,69,69,69,69,69,69,67,67,67,69,69,69,67,67,67,67,67,67,65,65,65,65,65,65,64,64,64,62,62,62,62,62,62,64,64,64,60,60,60,60,60,60,60,60,60,60,60,60,60,60,60,60,60,60,62,62,0,62,62,62,67,67,67,67,67,67,69,69,69,69,69,69,70,70,70,70,70,70,74,74,0,74,74,74,72,72,72,72,72,72,65,65,65,65,65,65,70,70,70,69,69,69,69,69,69,65,65,65,67,67,67,67,67,67,67,67,67,67,67,67,67,67,67,67,67,67,69,69,69,70,70,70,72,72,72,72,72,72,72,72,72,72,72,0,72,72,72,72,72,72,70,70,0,70,70,70,69,69,69,69,69,69,65,65,65,65,65,65,64,64,64,64,64,64,65,65,65,65,65,65,62,62,62,62,62,62,62,62,62,62,62,62,62,62,62,62,62,62,67,67,67,69,69,69,70,70,70,70,70,70,70,70,70,70,70,70,74,74,74,74,74,74,72,72,72,74,74,74,72,72,72,72,72,72,70,70,70,70,70,70,69,69,69,67,67,67,67,67,67,69,69,69,65,65,65,65,65,65,65,65,65,65,65,65,65,65,65,65,65,65,65,65,65,65,65,65,74,74,74,74,74,74,74,74,0,74,74,74,72,72,0,72,72,72,65,65,65,67,67,67,69,69,69,69,69,69,69,69,69,69,69,69,69,69,69,69,69,69,69,69,69,69,69,69,74,74,74,74,74,74,74,74,0,74,74,74,72,72,0,72,72,72,65,65,65,67,67,67,69,69,69,69,69,69,69,69,69,69,69,69,69,69,69,69,69,69,69,69,69,69,69,69,70,70,70,0,70,70,69,69,69,65,65,65,62,62,62,62,62,62,62,62,62,62,62,62,70,70,70,0,70,70,69,69,69,65,65,65,62,62,62,62,62,62,60,60,0,60,60,60,65,65,65,65,65,65,69,69,69,69,69,69,74,74,74,74,74,74,74,74,74,74,74,74,74,74,74,74,74,74,74,74,74,74,74,74,72,72,0,72,72,72,72,72,72,70,70,70,69,69,69,67,67,67,67,67,67,69,69,69,65,65,65,65,65,65,65,65,65,65,65,65

};
void Singing(){
  MotorUpdateFlag=0;
  for(int i=0;i<LENGTH;i++){
    if(Music_Score[i]==0){
      __HAL_TIM_SET_COMPARE(&htim4, TIM_CHANNEL_3, 0);
    }else{
            // 现场计算频率 (Base: C3=130.81Hz, C4=261.63Hz)
            // C Major semitones: 0(C), 2(D), 4(E), 5(F), 7(G), 9(A), 11(B)
            //int semitones_map[] = {0, 2, 4, 5, 7, 9, 11};
            // Correct formula: freq = 440 * 2^((n-69)/12) OR 261.63 * 2^((n-60)/12)
            float freq = 261.63f * pow(2.0f, (float)(Music_Score[i] - 60) / 12.0f);

            // Limit frequency to avoid div by zero or extreme values
            if(freq < 20.0f) freq = 20.0f;
            if(freq > 20000.0f) freq = 20000.0f;

            // ARR = (TimerClock / Frequency) - 1. TimerClock = 1MHz
            uint32_t reload = (uint32_t)(1000000.0f / freq) - 1;
            __HAL_TIM_SET_AUTORELOAD(&htim4, reload);
            // 同时更新占空比为50% (CCR = ARR/2)
             __HAL_TIM_SET_COMPARE(&htim4, TIM_CHANNEL_3, reload / 2);
    }
    osDelay(75);
    if(RunningTask!=3){
      MotorUpdateFlag=1;
      return;
    }
  }
  MotorUpdateFlag=1;
  return;
}

#define LENGTH_SOME 93//校歌片段乐谱数据，用在SingingSome函数中
const uint8_t Music_Score_Some[LENGTH_SOME]={

	60,60,65,65,69,69,74,74,74,74,74,74,74,74,74,74,74,74,72,72,72,72,72,72,72,72,72,72,70,70,69,69,69,69,69,69,67,67,67,67,69,69,62,62,62,62,62,0,64,64,64,64,62,62,60,60,60,60,60,60,72,72,72,70,70,70,69,69,69,67,67,67,67,67,67,69,69,69,65,65,65,65,65,0,65,65,0,65,65,0,65,65,65
};
void SingingSome(){
  MotorUpdateFlag=0;
  for(int i=0;i<LENGTH_SOME;i++){
    if(Music_Score_Some[i]==0){
      __HAL_TIM_SET_COMPARE(&htim4, TIM_CHANNEL_3, 0);
    }else{
            // 现场计算频率 (Base: C3=130.81Hz, C4=261.63Hz)
            // C Major semitones: 0(C), 2(D), 4(E), 5(F), 7(G), 9(A), 11(B)
            //int semitones_map[] = {0, 2, 4, 5, 7, 9, 11};
            // Correct formula: freq = 440 * 2^((n-69)/12) OR 261.63 * 2^((n-60)/12)
            float freq = 261.63f * pow(2.0f, (float)(Music_Score_Some[i] - 60) / 12.0f);

            // Limit frequency to avoid div by zero or extreme values
            if(freq < 20.0f) freq = 20.0f;
            if(freq > 20000.0f) freq = 20000.0f;

            // ARR = (TimerClock / Frequency) - 1. TimerClock = 1MHz
            uint32_t reload = (uint32_t)(1000000.0f / freq) - 1;
            __HAL_TIM_SET_AUTORELOAD(&htim4, reload);
            // 同时更新占空比为50% (CCR = ARR/2)
             __HAL_TIM_SET_COMPARE(&htim4, TIM_CHANNEL_3, reload / 2);
    }
    osDelay(50);
  }
  MotorUpdateFlag=1;
  return;
}

static void BuzzerSetFrequencyHz(uint32_t freq_hz)
{
  uint32_t reload;

  if (freq_hz < 20U) {
    freq_hz = 20U;
  }
  if (freq_hz > 20000U) {
    freq_hz = 20000U;
  }

  reload = (1000000U / freq_hz) - 1U;
  __HAL_TIM_SET_AUTORELOAD(&htim4, reload);
}

static void BuzzerToneOn50Duty(void)
{
  uint32_t reload = __HAL_TIM_GET_AUTORELOAD(&htim4);
  __HAL_TIM_SET_COMPARE(&htim4, TIM_CHANNEL_3, reload / 2U);
}

////////////////////////////////////////////////////////////////////////////////////
//                                                                                //
//                                                                                //
//                      从此处开始以下为FreeRTOS Task函数                           //
//                                                                                //
//                                                                                //
////////////////////////////////////////////////////////////////////////////////////

//电机状态更新Task，负责判断电机当前的状态然后决策电机的运动
void MotorUpdate(void const * argument)
{
  /* USER CODE BEGIN StartDefaultTask */
  static int buzzer_tick = 0;
  static int buzzer_oneshot = 0; // 短响计时器

  alarm_level = 0;

  // 确保开启 TIM4 CH3 的 PWM 输出
  HAL_TIM_PWM_Start(&htim4, TIM_CHANNEL_3);

  /* Infinite loop */
  for(;;)
  {
    (void)Referee_Update(&g_referee, HAL_GetTick());//周期维护在线状态

    // 读取并缓存飞镖相关数据，供其他任务或调试输出使用
    (void)Referee_GetDartInfo(&g_referee, &g_dart_info_cache);
    (void)Referee_GetDartClientCmd(&g_referee, &g_dart_cmd_cache);

    // alarm_level 不在每次循环重置，保持报警状态直到系统复位或手动清除，
      //所以若电机因安全问题被禁用，请按复位键重置系统

    for(int i=0;i<MOTOR_NUM;i++){
      Motor *m = motor_array[i];//遍历每一个电机来更新数据
      uint32_t now = HAL_GetTick();
      uint8_t was_online = m->motorState.isOnline;
      uint8_t is_online_stable;

      if ((now - m->motorState.lastRxTick) > MOTOR_OFFLINE_TIMEOUT_MS) {
        m->motorState.isOnline = 0;
      }

      if (m->motorState.isOnline == 0) {
        // 电机掉电或总线断开时，清空观测量并复位堵转状态
        // 不强制清零输出，避免上位机已下发控制但因延迟上电被永久压制
        m->motorState.rpmRaw = 0;
        m->motorState.torqueRaw = 0;
        m->motorState.rpm = 0;
        m->motorState.torque = 0;
        m->motorState.stallTimer = 0;
        m->motorState.isStalled = 0;
      } else if (was_online == 0) {
        // 重新收到反馈后，自动解除离线期可能出现的保护锁定
        m->enabled = 1;
      }

      is_online_stable = (uint8_t)(m->motorState.isOnline && ((now - m->motorState.onlineSinceTick) >= MOTOR_ONLINE_WARMUP_MS));

      MotorFilterUpdate(m);
      // PID calculation moved to StartPidTask
      if(m->motorState.motorMode == disable){
        m->motorState.isStalled = 0; // Clear stalled flag
      }
      // Handle runToAngle status
      if (m->motorState.motorMode == runToAngle) {
          // 如果堵转，切换到 angleMode 并在当前位置保持
          if (m->motorState.isStalled) {
              MotorSetOutput(m, angleMode, m->motorState.angle);
              m->motorState.isStalled = 0; // Clear stalled flag to allow new moves
          } else {
              // 简单的 bang-bang 速度控制向目标角度移动
              // 或者更好的 P 控制以避免震荡，这里按用户原逻辑使用固定速度
              double diff = m->motorState.angle - m->targetAngle;

              if (fabs(diff) < 100) { // 阈值判定到达
                  MotorSetOutput(m, angleMode, m->targetAngle);
              } else {
                 // 继续运行
                 if (m->motorState.angle < m->targetAngle) {
                     m->speedPid.setpoint = fabs(m->runSpeed);
                 } else {
                     m->speedPid.setpoint = -fabs(m->runSpeed);
                 }
                 // 在 runToAngle 模式下，StartPidTask 会计算 speedPid
              }
          }
      } else if (m->motorState.motorMode == runToStallMode) {
          if (m->motorState.isStalled) {
              m->motorState.motorMode = disable;
              m->output = 0;
              m->speedPid.setpoint = 0;
              m->motorState.isStalled = 0;
          } else {
              m->speedPid.setpoint = m->runSpeed;
          }
      } else if (m->motorState.motorMode == speedTimeMode) {
          if (m->runTimer < m->runTime&&m->motorState.isStalled==0) {
              m->runTimer++;
              m->speedPid.setpoint = m->runSpeed;
          } else {
              m->motorState.motorMode = speedMode;
              m->output = 0;
              m->speedPid.setpoint = 0;
          }
      }

      // Safety Checks
      // 1. 堵转检测
      // 使用最终输出电流值(m->output)和转速(m->motorState.rpm)进行判断
      uint8_t prev_stalled = m->motorState.isStalled;
          if (is_online_stable && fabs(m->output) > m->stallOutput && fabs(m->motorState.rpm) < m->stallSpeedThreshold) {
          m->motorState.stallTimer++;
      } else {
          m->motorState.stallTimer = 0;
          m->motorState.isStalled = 0;
      }

      if (m->motorState.stallTimer > m->stallTimeThreshold) {
          m->motorState.isStalled = 1;
      }
      if(MotorUpdateFlag==1){
      // 检测到堵转状态上升沿 (0 -> 1)，触发一次短响
      if (prev_stalled == 0 && m->motorState.isStalled == 1) {
          buzzer_oneshot = 200; // 触发200ms短响

          if(i < 7) {
            static const uint16_t stall_freq_map[7] = {740U, 880U, 1040U, 1220U, 1360U, 1560U, 1760U};
            BuzzerSetFrequencyHz(stall_freq_map[i]);
            BuzzerToneOn50Duty();
          }
      }

      // 2. 阈值保护 (温度 > 阈值 OR (转矩 > 阈值(瞬间)))
      // 注意：堵转(isStalled)不再触发禁用或报警
      if (is_online_stable && m->motorState.tempr > m->maxTemp){
        m->enabled = 0; // 立即禁用电机
        if (alarm_level < 1) alarm_level = 1; // 仅升级报警等级，不降级
        alarm_motor = i+1;
        alarm_counter++;
      }

      if (is_online_stable && fabs(m->motorState.torque) > m->maxTorque) {
        m->enabled = 0; // 立即禁用电机
        if (alarm_level < 2) alarm_level = 2; // 仅升级报警等级，不降级（扭矩优于温度）
        alarm_motor = i+1;
        alarm_counter++;
      }
    }

      if (m->enabled == 0||MotorUpdateFlag == 0) {
          m->output = 0;
      }

      TransferToMotorSend(m);
    }

    // --- 蜂鸣器非阻塞报警逻辑 (1ms task cycle) ---
    // 兼容 1-10 次短响逻辑: 每次短响占用 200ms (100ms ON, 100ms OFF)
    // 最大 10 次需要 2000ms 周期。为了简化，如果 alarm_level > 0，则按 alarm_level * 200ms + 500ms(间隔) 计算周期
    // buzzer_tick 单位: ms

    buzzer_tick++;
    int cycle_period = 1000;
    if (alarm_level > 0) {
        cycle_period = alarm_level * 200 + 800; // 动态周期，保证响完后有一段静音
    }

    if (buzzer_tick >= cycle_period) buzzer_tick = 0;

    if (buzzer_oneshot > 0) {
        // 短响期间保持当前频率输出
        buzzer_oneshot--;
        if (buzzer_oneshot == 0) {
        // 结束短响，恢复到新的报警频点并静音等待下次触发
        BuzzerSetFrequencyHz(BUZZER_ALERT_FREQ_HZ);
            __HAL_TIM_SET_COMPARE(&htim4, TIM_CHANNEL_3, 0); // 暂歇
        }
    }
    else if (alarm_level == 0) {
        if(MotorUpdateFlag == 1) {
            __HAL_TIM_SET_COMPARE(&htim4, TIM_CHANNEL_3, 0); // 正常情况静音
        }
        buzzer_tick = 0; // 复位保持同步
    } else {
        // 通用报警逻辑：响 alarm_level 次
        // 例如 alarm_level = 3:
        // 0-100: ON, 100-200: OFF
        // 200-300: ON, 300-400: OFF
        // 400-500: ON, 500-600: OFF
        // >600: OFF (直到 cycle_period)

        // 判断当前时刻是否在所有响声的时间段内
        if (buzzer_tick < (alarm_level * 200)) {
            // 在响声时间段内，判断是 ON 还是 OFF
            if ((buzzer_tick % 200) < 100) {
            BuzzerSetFrequencyHz(BUZZER_ALERT_FREQ_HZ);
            BuzzerToneOn50Duty(); // ON
            } else {
                __HAL_TIM_SET_COMPARE(&htim4, TIM_CHANNEL_3, 0);   // OFF
            }
        } else {
            // 超过响声时间段，保持静音
            __HAL_TIM_SET_COMPARE(&htim4, TIM_CHANNEL_3, 0);
        }
    }

    osDelay(1);
  }
  /* USER CODE END StartDefaultTask */
}

//CDC发送反馈报文Task
void StartCdcTask(void const * argument)//上位机通信任务，负责发送电机状态反馈数据包到上位机
{
  /* USER CODE BEGIN StartDefaultTask */
  /* Infinite loop */
  for(;;)
  {
    for(int i=0;i<MOTOR_NUM;i++){
      MotorCdcFeedback(i);
      osDelay(1); // 关键修改：增加延时，等待USB发送完成
    }
    RefereeCdcFeedback();
    osDelay(1);
    osDelay(90); // 整体刷新频率控制
  }
  /* USER CODE END StartDefaultTask */
}

//主要程序编写在此处
void StartTask2(void const * argument)
{
  ///////////////////////////////////////////////////
  //    lift全程angle:9000000 向上为正              //
  //    GM6020全程angle:490000 顺时针为正           //
  ///////////////////////////////////////////////////
  /* USER CODE BEGIN StartDefaultTask */
  // 1. 初始化电机基本结构 MotorInit(*motor, StdId, MotorByte);
  //MotorSafetyInit(*motor, maxTemp, maxTorque, stallOutput, stallSpeedThreshold, stallTimeThreshold);
  MotorInit(&fric1, 0x200, 0);
  MotorInit(&fric2, 0x200, 2);
  MotorInit(&fric3, 0x200, 4);
  MotorInit(&fric4, 0x200, 6);
  MotorInit(&lift, 0x1FF, 4);
  MotorSafetyInit(&lift, 35, 20000, 2000, 50,100);
  //lift.enabled=0; // 升降电机初始禁用
  MotorInit(&load, 0x1FF, 2);
  MotorSafetyInit(&load, 35, 5000, 500, 50, 100);
  //load.enabled=0; // 装弹电机初始禁用
  MotorInit(&GM6020, 0x1FE, 0);
  MotorSafetyInit(&GM6020, 35, 5000, 1000, 50, 100);

  // 2. 初始化 GM6020 角度环 PID (内环) 参数: Kp,Ki,Kd,MaxOut,Deadband,I_Limit
  PidInit(&GM6020.anglePid, 1.0, 0.0, 0.0, 4000.0, 0.0, 0.0);
  PidInit(&GM6020.speedPid, 12, 1, 0.0, 4000.0, 0.0, 1000);
  for(int i=0;i<4;i++){
    MotorSafetyInit(motor_array[i], 55, 35000, 500, 50, 100);
    PidInit(&motor_array[i]->speedPid, 60, 1, 1, 30000.0, 0.0, 30000);
  }
  PidInit(&fric1.anglePid, 1, 1, 1000, 3000.0, 0.0, 1000);
  PidInit(&fric2.anglePid, 1, 1, 1000, 3000.0, 0.0, 1000);
  PidInit(&fric3.anglePid, 1, 1, 1000, 3000.0, 0.0, 1000);
  PidInit(&fric4.anglePid, 1, 1, 1000, 3000.0, 0.0, 1000);
  PidInit(&lift.anglePid, 1, 1, 1000, 3000.0, 0.0, 1000);
  PidInit(&lift.speedPid, 1, 0.01, 1, 9000.0, 0.0, 300);
  PidInit(&load.anglePid, 1, 1, 1000, 3000.0, 0.0, 1000);
  PidInit(&load.speedPid, 2, 0.01, 1, 3000.0, 0.0, 300);

  // 3. 设置初始输出为 0
  MotorSetOutput(&GM6020, speedMode, 0);
  MotorSetOutput(&fric1, angleMode, 0);
  MotorSetOutput(&fric2, angleMode, 0);
  MotorSetOutput(&fric3, angleMode, 0);
  MotorSetOutput(&fric4, angleMode, 0);
  MotorSetOutput(&lift, speedMode, 0);
  MotorSetOutput(&load, speedMode, 0);

  dartParamInit(); // 初始化飞镖发射参数

  // 4. 初始化外部速度环 PID (外环)
  // 参数: Kp=1.0, Ki=0.0, Kd=0.0 (需根据实际调优), MaxOut=8191(角度最大值), Deadband=0, I_Limit=0
  //PidInit(&outerSpeedPid, 1.0, 0.0, 0.0, 8191.0, 0.0, 0.0);

  // 5. 绑定 PID 指针：外环输出 -> 内环输入
  //outerSpeedPid.inputAdress = &GM6020.motorState.rpm;       // 输入：当前 RPM
  //outerSpeedPid.outputAdress = &GM6020.anglePid.setpoint;   // 输出：角度环的目标值(Setpoint)

  // 6. 设定外环目标值
  //outerSpeedPid.setpoint = 100.0; // 例如：目标 100 RPM

  /////////////////////////以下为上电初始化程序////////////////////////////
  //上电初始化，GM6020和lift走到负方向限位
  //osDelay(1000);
  //SingingSome();//播放部分音乐以示启动
  MotorRunToStall(&GM6020,-300);
  GM6020.motorState.angle=0;
  MotorRunToAngleBlocking(&GM6020,245000,300);
  //MotorRunToStall(&lift,6000);
  MotorRunToStall(&lift,-6000);
  osDelay(100);
  lift.motorState.angle=0;
  lift.motorState.isStalled=0;
    MotorRunSpeedTimeBlocking(&lift,3000,500);
  //MotorRunToAngleBlocking(&lift,0,300);
  MotorRunToStall(&load,3000);
  osDelay(100);
  MotorRunToStall(&load,-3000);
  osDelay(100);
  load.motorState.angle=0;
  load.motorState.isStalled=0;
  HAL_GPIO_WritePin(LED_R_GPIO_Port, LED_R_Pin, GPIO_PIN_SET); // 指示初始化完成
  osDelay(1000);
  MotorSetOutput(&fric1, speedMode, -4000);
  MotorSetOutput(&fric2, speedMode, -4000);
  MotorSetOutput(&fric3, speedMode, 4000);
  MotorSetOutput(&fric4, speedMode, 4000);
  osDelay(1000);
  MotorSetOutput(&fric1, speedMode, 100);
  MotorSetOutput(&fric2, speedMode, 100);
  MotorSetOutput(&fric3, speedMode, -100);
  MotorSetOutput(&fric4, speedMode, -100);
  HAL_GPIO_WritePin(LED_R_GPIO_Port, LED_R_Pin, GPIO_PIN_RESET);
  HAL_GPIO_WritePin(LED_G_GPIO_Port, LED_G_Pin, GPIO_PIN_SET); // 指示准备完成
  alarm_level=0;
  CDC_Ctrl_state = 1; // CDC 连接完成，允许接收控制命令
  ////////////////////////////////////////////////////////////////////////////
  /* Infinite loop */
  for(;;)
  {//RunningTask执行的任务在此处编写
    /* if(fabs(lift.motorState.rpm)>600){
      osDelay(1000);
      RunningTask=1;
    } */
    if(RunningTask==1){
      //MotorSetOutput(&fric1, speedMode, -5600);
      //MotorSetOutput(&fric2, speedMode, -5600);
      //MotorSetOutput(&fric3, speedMode, 5600);
      //MotorSetOutput(&fric4, speedMode, 5600);
      MotorRunSpeedTimeBlocking(&lift,30000,4000);
      osDelay(1000);
      MotorSetOutput(&fric1, speedMode, 100);
      MotorSetOutput(&fric2, speedMode, 100);
      MotorSetOutput(&fric3, speedMode, -100);
      MotorSetOutput(&fric4, speedMode, -100);
      MotorRunSpeedTimeBlocking(&lift,-30000,2500);
      MotorRunToStall(&lift,-6000);
      MotorRunSpeedTimeBlocking(&lift,3000,500);
      osDelay(1000);
      RunningTask=0;
    }
    if(RunningTask==2){//现在用来测试滤波准确性
      /* while(RunningTask==2){
        MotorRunToAngleBlocking(&GM6020,400000,600);
        MotorRunToAngleBlocking(&GM6020,10000,600);
      }
 */
      MotorRunSpeedTimeBlocking(&lift,3000,25000);
      osDelay(1000);
      MotorSetOutput(&fric1, speedMode, 0);
      MotorSetOutput(&fric2, speedMode, 0);
      MotorSetOutput(&fric3, speedMode, -0);
      MotorSetOutput(&fric4, speedMode, -0);
      MotorRunToStall(&lift,-8000);
      //在此处写程序
      RunningTask=2;
    }
    if(RunningTask==3){
      //在此处写程序
      Singing();//播放音乐
      RunningTask=0;
    }
    if(RunningTask==4){
      //在此处写程序
      //连发程序
      MotorSetOutput(&fric1, speedMode, -dartParam_array[0].v1Speed);
      MotorSetOutput(&fric2, speedMode, -dartParam_array[0].v2Speed);
      MotorSetOutput(&fric3, speedMode, dartParam_array[0].v1Speed);
      MotorSetOutput(&fric4, speedMode, dartParam_array[0].v2Speed);
      MotorRunToAngleBlocking(&GM6020,dartParam_array[0].yaw,300);
      MotorRunToStall(&load,-3000);
      MotorRunSpeedTimeBlocking(&lift,30000,2000);
      MotorSetOutput(&fric1, speedMode, -dartParam_array[1].v1Speed);
      MotorSetOutput(&fric2, speedMode, -dartParam_array[1].v2Speed);
      MotorSetOutput(&fric3, speedMode, dartParam_array[1].v1Speed);
      MotorSetOutput(&fric4, speedMode, dartParam_array[1].v2Speed);
      MotorRunToAngleBlocking(&GM6020,dartParam_array[1].yaw,300);
      MotorRunSpeedTimeBlocking(&lift,30000,1700);
      MotorSetOutput(&fric1, speedMode, 100);
      MotorSetOutput(&fric2, speedMode, 100);
      MotorSetOutput(&fric3, speedMode, -100);
      MotorSetOutput(&fric4, speedMode, -100);
      MotorRunSpeedTimeBlocking(&lift,-30000,3000);
      MotorRunToStall(&lift,-6000);

      MotorSetOutput(&fric1, speedMode, -dartParam_array[2].v1Speed);
      MotorSetOutput(&fric2, speedMode, -dartParam_array[2].v2Speed);
      MotorSetOutput(&fric3, speedMode, dartParam_array[2].v1Speed);
      MotorSetOutput(&fric4, speedMode, dartParam_array[2].v2Speed);
      MotorRunToAngleBlocking(&GM6020,dartParam_array[2].yaw,300);
      MotorRunToStall(&load,3000);
      MotorRunSpeedTimeBlocking(&lift,30000,2000);
      MotorSetOutput(&fric1, speedMode, -dartParam_array[3].v1Speed);
      MotorSetOutput(&fric2, speedMode, -dartParam_array[3].v2Speed);
      MotorSetOutput(&fric3, speedMode, dartParam_array[3].v1Speed);
      MotorSetOutput(&fric4, speedMode, dartParam_array[3].v2Speed);
      MotorRunToAngleBlocking(&GM6020,dartParam_array[3].yaw,300);
      MotorRunSpeedTimeBlocking(&lift,30000,1700);
      MotorSetOutput(&fric1, speedMode, 100);
      MotorSetOutput(&fric2, speedMode, 100);
      MotorSetOutput(&fric3, speedMode, -100);
      MotorSetOutput(&fric4, speedMode, -100);
      MotorRunSpeedTimeBlocking(&lift,-30000,3000);
      MotorRunToStall(&lift,-6000);
      MotorRunToStall(&load,-3000);

      RunningTask=0;
    }
    //alarm_level = 2; // 测试报警
    osDelay(1);
  }
  /* USER CODE END StartDefaultTask */
}

void StartPidTask(void const * argument)
{
  /* USER CODE BEGIN StartDefaultTask */
  /* Infinite loop */
  for(;;)
  {//在此处计算PID参数
    // 计算自定义的 PID (需在电机PID之前计算，以便将输出作为电机PID的输入)
    //PidCalculate(&outerSpeedPid);
    for(int i=0; i<MOTOR_NUM; i++){
       Motor *m = motor_array[i];
       switch(m->motorState.motorMode){
         case angleMode:
           PidCalculate(&m->anglePid);
           break;
         case speedMode:
         case runToAngle: // runToAngle 本质上是速度环控制
         case runToStallMode: // runToStall 本质也是速度环
         case speedTimeMode:
           PidCalculate(&m->speedPid);
           break;
         case torqueMode:
           PidCalculate(&m->torquePid);
           break;
         default:
           break;
       }
    }
    osDelay(1);
  }
  /* USER CODE END StartDefaultTask */
}
/* USER CODE END 4 */

void HAL_TIM_PeriodElapsedCallback(TIM_HandleTypeDef *htim)
{
  /* USER CODE BEGIN Callback 0 */
  if (htim->Instance == TIM2)
  {//由TIM2中断触发循环发送MotorSend存储池中存储的发送数据
    CanSendCounter++;
    for(int i=0;i<MOTOR_SEND_NUM;i++){
      CanSendMotor(motor_send_array[i]);
    }
/*     CanSendMotor(&_1FE);
    CanSendMotor(&_1FF);
    CanSendMotor(&_200); */
  }
  /* USER CODE END Callback 0 */
  if (htim->Instance == TIM1)
  {
    HAL_IncTick();
  }
}

void Error_Handler(void)
{
  __disable_irq();
  while (1)
  {
  }
}

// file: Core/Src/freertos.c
/* USER CODE BEGIN Header */
/**
  ******************************************************************************
  * File Name          : freertos.c
  * Description        : Code for freertos applications
  ******************************************************************************
  * @attention
  *
  * Copyright (c) 2026 STMicroelectronics.
  * All rights reserved.
  *
  * This software is licensed under terms that can be found in the LICENSE file
  * in the root directory of this software component.
  * If no LICENSE file comes with this software, it is provided AS-IS.
  *
  ******************************************************************************
  */
/* USER CODE END Header */

#include "FreeRTOS.h"
#include "task.h"
#include "main.h"
#include "cmsis_os.h"

osThreadId defaultTaskHandle;
osThreadId MyTask1Handle;
osThreadId myTask2Handle;
osThreadId PidTaskHandle;
osThreadId CdcTaskHandle;

void StartDefaultTask(void const * argument);
extern void MotorUpdate(void const * argument);
extern void StartTask2(void const * argument);
extern void StartPidTask(void const * argument);
extern void StartCdcTask(void const * argument);

extern void MX_USB_DEVICE_Init(void);
void MX_FREERTOS_Init(void); /* (MISRA C 2004 rule 8.1) */

/* GetIdleTaskMemory prototype (linked to static allocation support) */
void vApplicationGetIdleTaskMemory( StaticTask_t **ppxIdleTaskTCBBuffer, StackType_t **ppxIdleTaskStackBuffer, uint32_t *pulIdleTaskStackSize );

/* USER CODE BEGIN GET_IDLE_TASK_MEMORY */
static StaticTask_t xIdleTaskTCBBuffer;
static StackType_t xIdleStack[configMINIMAL_STACK_SIZE];

void vApplicationGetIdleTaskMemory( StaticTask_t **ppxIdleTaskTCBBuffer, StackType_t **ppxIdleTaskStackBuffer, uint32_t *pulIdleTaskStackSize )
{
  *ppxIdleTaskTCBBuffer = &xIdleTaskTCBBuffer;
  *ppxIdleTaskStackBuffer = &xIdleStack[0];
  *pulIdleTaskStackSize = configMINIMAL_STACK_SIZE;
  /* place for user code */
}
/* USER CODE END GET_IDLE_TASK_MEMORY */

void MX_FREERTOS_Init(void) {

  /* Create the thread(s) */
  /* definition and creation of defaultTask */
  osThreadDef(defaultTask, StartDefaultTask, osPriorityNormal, 0, 128);
  defaultTaskHandle = osThreadCreate(osThread(defaultTask), NULL);

  /* definition and creation of MyTask1 */
  osThreadDef(MyTask1, MotorUpdate, osPriorityLow, 0, 128);
  MyTask1Handle = osThreadCreate(osThread(MyTask1), NULL);

  /* definition and creation of myTask2 */
  osThreadDef(myTask2, StartTask2, osPriorityIdle, 0, 128);
  myTask2Handle = osThreadCreate(osThread(myTask2), NULL);

  /* definition and creation of PidTask */
  osThreadDef(PidTask, StartPidTask, osPriorityIdle, 0, 128);
  PidTaskHandle = osThreadCreate(osThread(PidTask), NULL);

  /* definition and creation of CdcTask */
  osThreadDef(CdcTask, StartCdcTask, osPriorityIdle, 0, 128);
  CdcTaskHandle = osThreadCreate(osThread(CdcTask), NULL);

}

void StartDefaultTask(void const * argument)
{
  /* init code for USB_DEVICE */
  MX_USB_DEVICE_Init();
  for(;;)
  {
    osDelay(1);
  }
}

/* USER CODE BEGIN Application */

void vApplicationStackOverflowHook(TaskHandle_t xTask, char *pcTaskName)
{
  (void)xTask;
  (void)pcTaskName;
  Error_Handler();
}

/* USER CODE END Application */
